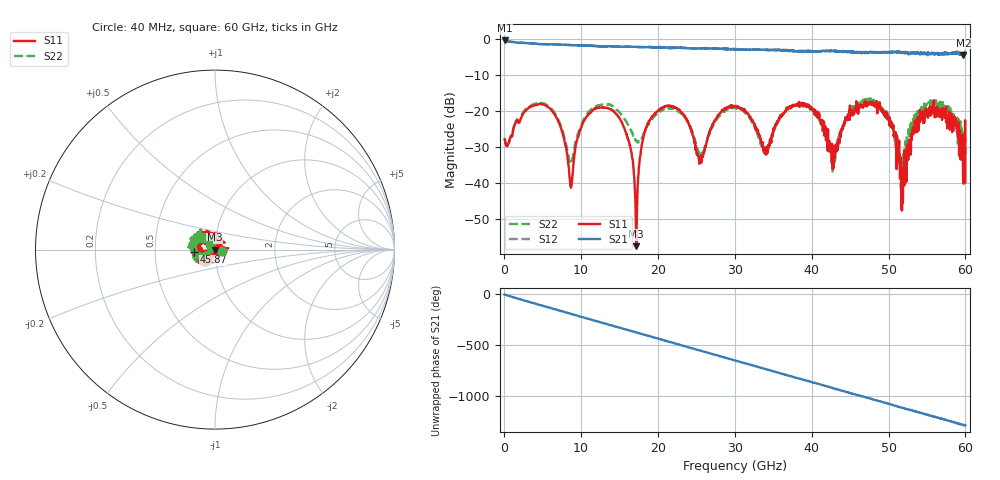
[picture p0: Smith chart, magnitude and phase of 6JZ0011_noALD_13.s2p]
! File created by 'SoftPlot +Plus+ Measurement Management Software'
! SoftPlot +Plus+ Measurement Management Software
! Start 40.000000 MHz  Stop 60.000000 GHz  Points 1601
# MHZ S RI R 50
! S-Parameter data, F S11 S21 S12 S22
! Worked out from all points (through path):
!   1601 points, 40 MHz to 60 GHz, reference 50 ohm
!   highest |S21| = -0.41 dB at 40 MHz (marker M1); lowest = -4.5 dB at 59.74 GHz (marker M2)
!   group delay of S21, straight-line fit = 59.4 ps
!   lowest |S11| = -57.5 dB at 17.17 GHz (marker M3), VSWR 1.00, Z = 49.9 - j0.0604 ohm
!   |S11| at or under -10 dB: start of sweep to end of sweep
!   |S22| runs from -42.9 to -16.5 dB; largest |S21 - S12| = 0.066
!   S11 on the Smith chart (normalised r, x): 40 MHz: 1.08, -0.01; 45.87 GHz: 0.79, -0.02; 60 GHz: 1.02, +0.00
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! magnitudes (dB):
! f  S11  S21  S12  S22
! 40 MHz  -27.8  -0.4  -0.4  -27.8
! 5.399 GHz  -18.5  -1.5  -1.5  -18.1
! 8.659 GHz  -41.3  -1.7  -1.7  -34.4
! 10.05 GHz  -24.2  -1.9  -1.8  -23.8
! 14.77 GHz  -21.3  -2.1  -2.1  -19.9
! 16.42 GHz  -30.3  -2.2  -2.2  -25.2
! 17.17 GHz  -57.5  -2.2  -2.2  -28.3
! 18.18 GHz  -26.6  -2.3  -2.2  -26.2
! 20.05 GHz  -19.8  -2.4  -2.2  -20.3
! 23.09 GHz  -20.4  -2.4  -2.4  -20.7
! 25.56 GHz  -34.3  -2.6  -2.6  -32.5
! 30.02 GHz  -18.7  -2.8  -2.8  -19.2
! 34.03 GHz  -31.3  -3.0  -3.0  -32.5
! 36.77 GHz  -19.0  -3.2  -3.0  -19.8
! 40.03 GHz  -19.5  -3.3  -3.4  -19.2
! 42.76 GHz  -35.8  -3.3  -3.3  -32.2
! 45.87 GHz  -18.4  -3.8  -3.9  -18.3
! 50.03 GHz  -22.1  -3.7  -3.6  -22.4
! 51.94 GHz  -38.1  -3.6  -3.7  -31.9
! 55.09 GHz  -20.4  -4.2  -4.2  -18.3
! 59.74 GHz  -30.3  -4.5  -3.8  -27.9
! 60 GHz  -39.8  -4.1  -4.5  -27.3
